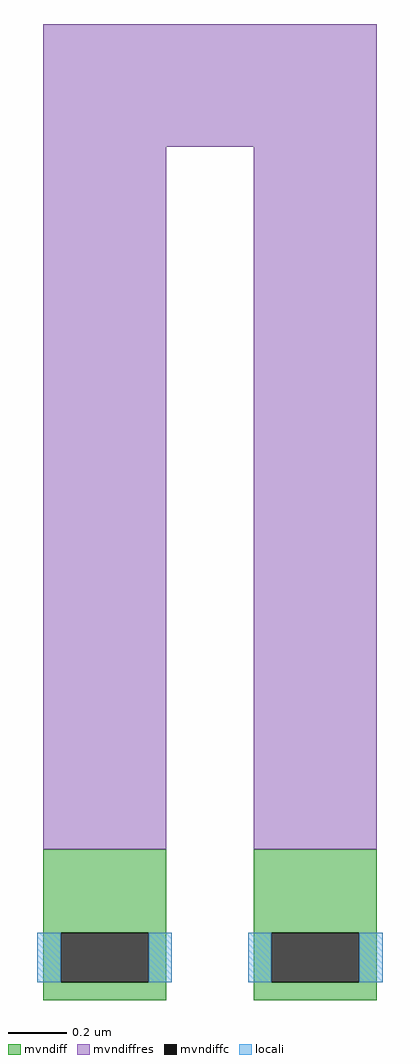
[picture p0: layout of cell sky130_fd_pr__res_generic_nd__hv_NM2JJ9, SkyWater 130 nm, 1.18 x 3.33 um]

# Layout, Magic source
magic
tech sky130A
magscale 1 2
<< mvndiff >>
rect -114 -287 -30 -230
rect -114 -321 -102 -287
rect -42 -321 -30 -287
rect -114 -333 -30 -321
rect 30 -287 114 -230
rect 30 -321 42 -287
rect 102 -321 114 -287
rect 30 -333 114 -321
<< mvndiffc >>
rect -102 -321 -42 -287
rect 42 -321 102 -287
<< mvndiffres >>
rect -114 250 114 334
rect -114 -230 -30 250
rect 30 -230 114 250
<< locali >>
rect -118 -321 -102 -287
rect -42 -321 -26 -287
rect 26 -321 42 -287
rect 102 -321 118 -287
<< properties >>
string gencell sky130_fd_pr__res_generic_nd__hv
string library sky130
string parameters w 0.42 l 2.6 m 1 nx 2 wmin 0.42 lmin 2.10 rho 120 val 1.8k dummy 0 dw 0.02 term 0.0 sterm 0.0 caplen 0.4 snake 1 guard 0 glc 1 grc 1 gtc 1 gbc 1 roverlap 0 endcov 100 full_metal 1 vias 1 viagb 0 viagt 0 viagl 0 viagr 0
<< end >>
